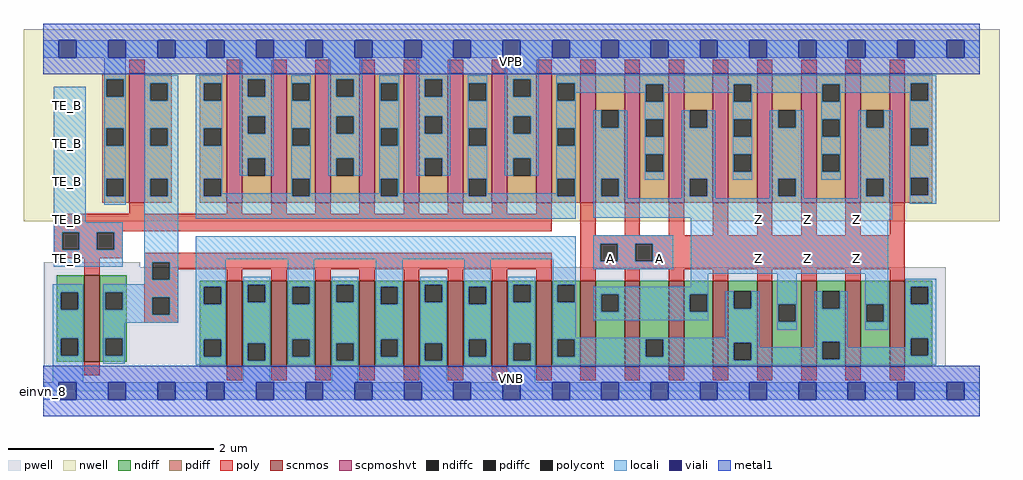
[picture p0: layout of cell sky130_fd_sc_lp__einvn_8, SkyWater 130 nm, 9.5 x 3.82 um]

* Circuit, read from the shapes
.subckt sky130_fd_sc_lp__einvn_8 A TE_B VGND VNB VPB VPWR Z
XM1 n1 TE_B VGND VNB sky130_fd_pr__nfet_01v8 w=0.84 l=0.15
XM2 VGND n1 n2 VNB sky130_fd_pr__nfet_01v8 w=0.84 l=0.15 m=8
XM3 Z A n2 VNB sky130_fd_pr__nfet_01v8 w=0.84 l=0.15 m=8
XM4 n1 TE_B VPWR VPB sky130_fd_pr__pfet_01v8_hvt w=1.26 l=0.15
XM5 VPWR TE_B n3 VPB sky130_fd_pr__pfet_01v8_hvt w=1.26 l=0.15 m=8
XM6 Z A n3 VPB sky130_fd_pr__pfet_01v8_hvt w=1.26 l=0.15 m=8
.ends

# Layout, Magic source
magic
tech sky130A
magscale 1 2
<< nwell >>
rect -38 331 1862 704
<< pwell >>
rect 1 241 189 251
rect 1 49 1757 241
rect 0 0 1824 49
<< scnmos >>
rect 80 57 110 225
rect 358 47 388 215
rect 444 47 474 215
rect 530 47 560 215
rect 616 47 646 215
rect 702 47 732 215
rect 788 47 818 215
rect 874 47 904 215
rect 960 47 990 215
rect 1046 47 1076 215
rect 1132 47 1162 215
rect 1218 47 1248 215
rect 1304 47 1334 215
rect 1390 47 1420 215
rect 1476 47 1506 215
rect 1562 47 1592 215
rect 1648 47 1678 215
<< scpmoshvt >>
rect 168 367 198 619
rect 358 367 388 619
rect 444 367 474 619
rect 530 367 560 619
rect 616 367 646 619
rect 702 367 732 619
rect 788 367 818 619
rect 874 367 904 619
rect 960 367 990 619
rect 1046 367 1076 619
rect 1132 367 1162 619
rect 1218 367 1248 619
rect 1304 367 1334 619
rect 1390 367 1420 619
rect 1476 367 1506 619
rect 1562 367 1592 619
rect 1648 367 1678 619
<< ndiff >>
rect 27 192 80 225
rect 27 158 35 192
rect 69 158 80 192
rect 27 103 80 158
rect 27 69 35 103
rect 69 69 80 103
rect 27 57 80 69
rect 110 192 163 225
rect 110 158 121 192
rect 155 158 163 192
rect 110 103 163 158
rect 305 203 358 215
rect 305 169 313 203
rect 347 169 358 203
rect 110 69 121 103
rect 155 69 163 103
rect 110 57 163 69
rect 305 101 358 169
rect 305 67 313 101
rect 347 67 358 101
rect 305 47 358 67
rect 388 207 444 215
rect 388 173 399 207
rect 433 173 444 207
rect 388 93 444 173
rect 388 59 399 93
rect 433 59 444 93
rect 388 47 444 59
rect 474 203 530 215
rect 474 169 485 203
rect 519 169 530 203
rect 474 101 530 169
rect 474 67 485 101
rect 519 67 530 101
rect 474 47 530 67
rect 560 207 616 215
rect 560 173 571 207
rect 605 173 616 207
rect 560 93 616 173
rect 560 59 571 93
rect 605 59 616 93
rect 560 47 616 59
rect 646 203 702 215
rect 646 169 657 203
rect 691 169 702 203
rect 646 101 702 169
rect 646 67 657 101
rect 691 67 702 101
rect 646 47 702 67
rect 732 207 788 215
rect 732 173 743 207
rect 777 173 788 207
rect 732 93 788 173
rect 732 59 743 93
rect 777 59 788 93
rect 732 47 788 59
rect 818 203 874 215
rect 818 169 829 203
rect 863 169 874 203
rect 818 101 874 169
rect 818 67 829 101
rect 863 67 874 101
rect 818 47 874 67
rect 904 207 960 215
rect 904 173 915 207
rect 949 173 960 207
rect 904 93 960 173
rect 904 59 915 93
rect 949 59 960 93
rect 904 47 960 59
rect 990 207 1046 215
rect 990 173 1001 207
rect 1035 173 1046 207
rect 990 101 1046 173
rect 990 67 1001 101
rect 1035 67 1046 101
rect 990 47 1046 67
rect 1076 188 1132 215
rect 1076 154 1087 188
rect 1121 154 1132 188
rect 1076 47 1132 154
rect 1162 101 1218 215
rect 1162 67 1173 101
rect 1207 67 1218 101
rect 1162 47 1218 67
rect 1248 188 1304 215
rect 1248 154 1259 188
rect 1293 154 1304 188
rect 1248 47 1304 154
rect 1334 194 1390 215
rect 1334 160 1345 194
rect 1379 160 1390 194
rect 1334 94 1390 160
rect 1334 60 1345 94
rect 1379 60 1390 94
rect 1334 47 1390 60
rect 1420 169 1476 215
rect 1420 135 1431 169
rect 1465 135 1476 169
rect 1420 47 1476 135
rect 1506 194 1562 215
rect 1506 160 1517 194
rect 1551 160 1562 194
rect 1506 96 1562 160
rect 1506 62 1517 96
rect 1551 62 1562 96
rect 1506 47 1562 62
rect 1592 169 1648 215
rect 1592 135 1603 169
rect 1637 135 1648 169
rect 1592 47 1648 135
rect 1678 203 1731 215
rect 1678 169 1689 203
rect 1723 169 1731 203
rect 1678 103 1731 169
rect 1678 69 1689 103
rect 1723 69 1731 103
rect 1678 47 1731 69
<< pdiff >>
rect 115 607 168 619
rect 115 573 123 607
rect 157 573 168 607
rect 115 512 168 573
rect 115 478 123 512
rect 157 478 168 512
rect 115 413 168 478
rect 115 379 123 413
rect 157 379 168 413
rect 115 367 168 379
rect 198 599 251 619
rect 198 565 209 599
rect 243 565 251 599
rect 198 512 251 565
rect 198 478 209 512
rect 243 478 251 512
rect 198 413 251 478
rect 198 379 209 413
rect 243 379 251 413
rect 198 367 251 379
rect 305 599 358 619
rect 305 565 313 599
rect 347 565 358 599
rect 305 512 358 565
rect 305 478 313 512
rect 347 478 358 512
rect 305 413 358 478
rect 305 379 313 413
rect 347 379 358 413
rect 305 367 358 379
rect 388 607 444 619
rect 388 573 399 607
rect 433 573 444 607
rect 388 535 444 573
rect 388 501 399 535
rect 433 501 444 535
rect 388 453 444 501
rect 388 419 399 453
rect 433 419 444 453
rect 388 367 444 419
rect 474 599 530 619
rect 474 565 485 599
rect 519 565 530 599
rect 474 512 530 565
rect 474 478 485 512
rect 519 478 530 512
rect 474 413 530 478
rect 474 379 485 413
rect 519 379 530 413
rect 474 367 530 379
rect 560 607 616 619
rect 560 573 571 607
rect 605 573 616 607
rect 560 535 616 573
rect 560 501 571 535
rect 605 501 616 535
rect 560 453 616 501
rect 560 419 571 453
rect 605 419 616 453
rect 560 367 616 419
rect 646 599 702 619
rect 646 565 657 599
rect 691 565 702 599
rect 646 512 702 565
rect 646 478 657 512
rect 691 478 702 512
rect 646 413 702 478
rect 646 379 657 413
rect 691 379 702 413
rect 646 367 702 379
rect 732 607 788 619
rect 732 573 743 607
rect 777 573 788 607
rect 732 535 788 573
rect 732 501 743 535
rect 777 501 788 535
rect 732 453 788 501
rect 732 419 743 453
rect 777 419 788 453
rect 732 367 788 419
rect 818 599 874 619
rect 818 565 829 599
rect 863 565 874 599
rect 818 512 874 565
rect 818 478 829 512
rect 863 478 874 512
rect 818 413 874 478
rect 818 379 829 413
rect 863 379 874 413
rect 818 367 874 379
rect 904 607 960 619
rect 904 573 915 607
rect 949 573 960 607
rect 904 535 960 573
rect 904 501 915 535
rect 949 501 960 535
rect 904 453 960 501
rect 904 419 915 453
rect 949 419 960 453
rect 904 367 960 419
rect 990 599 1046 619
rect 990 565 1001 599
rect 1035 565 1046 599
rect 990 512 1046 565
rect 990 478 1001 512
rect 1035 478 1046 512
rect 990 413 1046 478
rect 990 379 1001 413
rect 1035 379 1046 413
rect 990 367 1046 379
rect 1076 547 1132 619
rect 1076 513 1087 547
rect 1121 513 1132 547
rect 1076 413 1132 513
rect 1076 379 1087 413
rect 1121 379 1132 413
rect 1076 367 1132 379
rect 1162 597 1218 619
rect 1162 563 1173 597
rect 1207 563 1218 597
rect 1162 529 1218 563
rect 1162 495 1173 529
rect 1207 495 1218 529
rect 1162 461 1218 495
rect 1162 427 1173 461
rect 1207 427 1218 461
rect 1162 367 1218 427
rect 1248 547 1304 619
rect 1248 513 1259 547
rect 1293 513 1304 547
rect 1248 413 1304 513
rect 1248 379 1259 413
rect 1293 379 1304 413
rect 1248 367 1304 379
rect 1334 597 1390 619
rect 1334 563 1345 597
rect 1379 563 1390 597
rect 1334 529 1390 563
rect 1334 495 1345 529
rect 1379 495 1390 529
rect 1334 461 1390 495
rect 1334 427 1345 461
rect 1379 427 1390 461
rect 1334 367 1390 427
rect 1420 547 1476 619
rect 1420 513 1431 547
rect 1465 513 1476 547
rect 1420 413 1476 513
rect 1420 379 1431 413
rect 1465 379 1476 413
rect 1420 367 1476 379
rect 1506 597 1562 619
rect 1506 563 1517 597
rect 1551 563 1562 597
rect 1506 529 1562 563
rect 1506 495 1517 529
rect 1551 495 1562 529
rect 1506 461 1562 495
rect 1506 427 1517 461
rect 1551 427 1562 461
rect 1506 367 1562 427
rect 1592 547 1648 619
rect 1592 513 1603 547
rect 1637 513 1648 547
rect 1592 413 1648 513
rect 1592 379 1603 413
rect 1637 379 1648 413
rect 1592 367 1648 379
rect 1678 599 1731 619
rect 1678 565 1689 599
rect 1723 565 1731 599
rect 1678 512 1731 565
rect 1678 478 1689 512
rect 1723 478 1731 512
rect 1678 415 1731 478
rect 1678 381 1689 415
rect 1723 381 1731 415
rect 1678 367 1731 381
<< ndiffc >>
rect 35 158 69 192
rect 35 69 69 103
rect 121 158 155 192
rect 313 169 347 203
rect 121 69 155 103
rect 313 67 347 101
rect 399 173 433 207
rect 399 59 433 93
rect 485 169 519 203
rect 485 67 519 101
rect 571 173 605 207
rect 571 59 605 93
rect 657 169 691 203
rect 657 67 691 101
rect 743 173 777 207
rect 743 59 777 93
rect 829 169 863 203
rect 829 67 863 101
rect 915 173 949 207
rect 915 59 949 93
rect 1001 173 1035 207
rect 1001 67 1035 101
rect 1087 154 1121 188
rect 1173 67 1207 101
rect 1259 154 1293 188
rect 1345 160 1379 194
rect 1345 60 1379 94
rect 1431 135 1465 169
rect 1517 160 1551 194
rect 1517 62 1551 96
rect 1603 135 1637 169
rect 1689 169 1723 203
rect 1689 69 1723 103
<< pdiffc >>
rect 123 573 157 607
rect 123 478 157 512
rect 123 379 157 413
rect 209 565 243 599
rect 209 478 243 512
rect 209 379 243 413
rect 313 565 347 599
rect 313 478 347 512
rect 313 379 347 413
rect 399 573 433 607
rect 399 501 433 535
rect 399 419 433 453
rect 485 565 519 599
rect 485 478 519 512
rect 485 379 519 413
rect 571 573 605 607
rect 571 501 605 535
rect 571 419 605 453
rect 657 565 691 599
rect 657 478 691 512
rect 657 379 691 413
rect 743 573 777 607
rect 743 501 777 535
rect 743 419 777 453
rect 829 565 863 599
rect 829 478 863 512
rect 829 379 863 413
rect 915 573 949 607
rect 915 501 949 535
rect 915 419 949 453
rect 1001 565 1035 599
rect 1001 478 1035 512
rect 1001 379 1035 413
rect 1087 513 1121 547
rect 1087 379 1121 413
rect 1173 563 1207 597
rect 1173 495 1207 529
rect 1173 427 1207 461
rect 1259 513 1293 547
rect 1259 379 1293 413
rect 1345 563 1379 597
rect 1345 495 1379 529
rect 1345 427 1379 461
rect 1431 513 1465 547
rect 1431 379 1465 413
rect 1517 563 1551 597
rect 1517 495 1551 529
rect 1517 427 1551 461
rect 1603 513 1637 547
rect 1603 379 1637 413
rect 1689 565 1723 599
rect 1689 478 1723 512
rect 1689 381 1723 415
<< poly >>
rect 168 619 198 645
rect 358 619 388 645
rect 444 619 474 645
rect 530 619 560 645
rect 616 619 646 645
rect 702 619 732 645
rect 788 619 818 645
rect 874 619 904 645
rect 960 619 990 645
rect 1046 619 1076 645
rect 1132 619 1162 645
rect 1218 619 1248 645
rect 1304 619 1334 645
rect 1390 619 1420 645
rect 1476 619 1506 645
rect 1562 619 1592 645
rect 1648 619 1678 645
rect 168 345 198 367
rect 358 345 388 367
rect 444 345 474 367
rect 530 345 560 367
rect 616 345 646 367
rect 702 345 732 367
rect 788 345 818 367
rect 874 345 904 367
rect 960 345 990 367
rect 21 311 990 345
rect 21 309 155 311
rect 21 275 37 309
rect 71 275 105 309
rect 139 275 155 309
rect 21 259 155 275
rect 1046 303 1076 367
rect 1132 303 1162 367
rect 1218 303 1248 367
rect 1304 303 1334 367
rect 1390 303 1420 367
rect 1476 303 1506 367
rect 1562 303 1592 367
rect 1648 303 1678 367
rect 1046 287 1678 303
rect 80 225 110 259
rect 197 251 990 269
rect 197 217 213 251
rect 247 237 990 251
rect 247 217 263 237
rect 197 183 263 217
rect 358 215 388 237
rect 444 215 474 237
rect 530 215 560 237
rect 616 215 646 237
rect 702 215 732 237
rect 788 215 818 237
rect 874 215 904 237
rect 960 215 990 237
rect 1046 253 1085 287
rect 1119 253 1153 287
rect 1187 253 1678 287
rect 1046 237 1678 253
rect 1046 215 1076 237
rect 1132 215 1162 237
rect 1218 215 1248 237
rect 1304 215 1334 237
rect 1390 215 1420 237
rect 1476 215 1506 237
rect 1562 215 1592 237
rect 1648 215 1678 237
rect 197 149 213 183
rect 247 149 263 183
rect 197 133 263 149
rect 80 31 110 57
rect 358 21 388 47
rect 444 21 474 47
rect 530 21 560 47
rect 616 21 646 47
rect 702 21 732 47
rect 788 21 818 47
rect 874 21 904 47
rect 960 21 990 47
rect 1046 21 1076 47
rect 1132 21 1162 47
rect 1218 21 1248 47
rect 1304 21 1334 47
rect 1390 21 1420 47
rect 1476 21 1506 47
rect 1562 21 1592 47
rect 1648 21 1678 47
<< polycont >>
rect 37 275 71 309
rect 105 275 139 309
rect 213 217 247 251
rect 1085 253 1119 287
rect 1153 253 1187 287
rect 213 149 247 183
<< locali >>
rect 0 649 31 683
rect 65 649 127 683
rect 161 649 223 683
rect 257 649 319 683
rect 353 649 415 683
rect 449 649 511 683
rect 545 649 607 683
rect 641 649 703 683
rect 737 649 799 683
rect 833 649 895 683
rect 929 649 991 683
rect 1025 649 1087 683
rect 1121 649 1183 683
rect 1217 649 1279 683
rect 1313 649 1375 683
rect 1409 649 1471 683
rect 1505 649 1567 683
rect 1601 649 1663 683
rect 1697 649 1759 683
rect 1793 649 1824 683
rect 119 607 161 649
rect 21 329 83 592
rect 119 573 123 607
rect 157 573 161 607
rect 119 512 161 573
rect 119 478 123 512
rect 157 478 161 512
rect 119 413 161 478
rect 119 379 123 413
rect 157 379 161 413
rect 119 363 161 379
rect 197 599 263 615
rect 197 565 209 599
rect 243 565 263 599
rect 197 512 263 565
rect 197 478 209 512
rect 243 478 263 512
rect 197 413 263 478
rect 197 379 209 413
rect 243 379 263 413
rect 21 309 155 329
rect 21 275 37 309
rect 71 275 105 309
rect 139 275 155 309
rect 21 242 155 275
rect 197 251 263 379
rect 297 599 349 615
rect 297 565 313 599
rect 347 565 349 599
rect 297 512 349 565
rect 297 478 313 512
rect 347 478 349 512
rect 297 413 349 478
rect 383 607 449 649
rect 383 573 399 607
rect 433 573 449 607
rect 383 535 449 573
rect 383 501 399 535
rect 433 501 449 535
rect 383 453 449 501
rect 383 419 399 453
rect 433 419 449 453
rect 483 599 521 615
rect 483 565 485 599
rect 519 565 521 599
rect 483 512 521 565
rect 483 478 485 512
rect 519 478 521 512
rect 297 379 313 413
rect 347 385 349 413
rect 483 413 521 478
rect 555 607 621 649
rect 555 573 571 607
rect 605 573 621 607
rect 555 535 621 573
rect 555 501 571 535
rect 605 501 621 535
rect 555 453 621 501
rect 555 419 571 453
rect 605 419 621 453
rect 655 599 693 615
rect 655 565 657 599
rect 691 565 693 599
rect 655 512 693 565
rect 655 478 657 512
rect 691 478 693 512
rect 483 385 485 413
rect 347 379 485 385
rect 519 385 521 413
rect 655 413 693 478
rect 727 607 793 649
rect 727 573 743 607
rect 777 573 793 607
rect 727 535 793 573
rect 727 501 743 535
rect 777 501 793 535
rect 727 453 793 501
rect 727 419 743 453
rect 777 419 793 453
rect 827 599 865 615
rect 827 565 829 599
rect 863 565 865 599
rect 827 512 865 565
rect 827 478 829 512
rect 863 478 865 512
rect 655 385 657 413
rect 519 379 657 385
rect 691 385 693 413
rect 827 413 865 478
rect 899 607 965 649
rect 899 573 915 607
rect 949 573 965 607
rect 899 535 965 573
rect 899 501 915 535
rect 949 501 965 535
rect 899 453 965 501
rect 899 419 915 453
rect 949 419 965 453
rect 999 599 1739 615
rect 999 565 1001 599
rect 1035 597 1689 599
rect 1035 581 1173 597
rect 1035 565 1037 581
rect 999 512 1037 565
rect 1171 563 1173 581
rect 1207 581 1345 597
rect 1207 563 1209 581
rect 999 478 1001 512
rect 1035 478 1037 512
rect 827 385 829 413
rect 691 379 829 385
rect 863 385 865 413
rect 999 413 1037 478
rect 999 385 1001 413
rect 863 379 1001 385
rect 1035 379 1037 413
rect 297 335 1037 379
rect 1071 513 1087 547
rect 1121 513 1137 547
rect 1071 413 1137 513
rect 1071 379 1087 413
rect 1121 379 1137 413
rect 1171 529 1209 563
rect 1343 563 1345 581
rect 1379 581 1517 597
rect 1379 563 1381 581
rect 1171 495 1173 529
rect 1207 495 1209 529
rect 1171 461 1209 495
rect 1171 427 1173 461
rect 1207 427 1209 461
rect 1171 411 1209 427
rect 1243 513 1259 547
rect 1293 513 1309 547
rect 1243 413 1309 513
rect 1071 375 1137 379
rect 1243 379 1259 413
rect 1293 379 1309 413
rect 1343 529 1381 563
rect 1515 563 1517 581
rect 1551 581 1689 597
rect 1551 563 1553 581
rect 1343 495 1345 529
rect 1379 495 1381 529
rect 1343 461 1381 495
rect 1343 427 1345 461
rect 1379 427 1381 461
rect 1343 411 1381 427
rect 1415 513 1431 547
rect 1465 513 1481 547
rect 1415 413 1481 513
rect 1243 375 1309 379
rect 1415 379 1431 413
rect 1465 379 1481 413
rect 1515 529 1553 563
rect 1687 565 1689 581
rect 1723 565 1739 599
rect 1515 495 1517 529
rect 1551 495 1553 529
rect 1515 461 1553 495
rect 1515 427 1517 461
rect 1551 427 1553 461
rect 1515 411 1553 427
rect 1587 513 1603 547
rect 1637 513 1653 547
rect 1587 413 1653 513
rect 1415 375 1481 379
rect 1587 379 1603 413
rect 1637 379 1653 413
rect 1587 375 1653 379
rect 1071 337 1653 375
rect 1687 512 1739 565
rect 1687 478 1689 512
rect 1723 478 1739 512
rect 1687 415 1739 478
rect 1687 381 1689 415
rect 1723 381 1739 415
rect 1687 365 1739 381
rect 1261 333 1653 337
rect 197 217 213 251
rect 247 217 263 251
rect 197 208 263 217
rect 19 192 78 208
rect 19 158 35 192
rect 69 158 78 192
rect 19 103 78 158
rect 19 69 35 103
rect 69 69 78 103
rect 19 17 78 69
rect 117 192 263 208
rect 117 158 121 192
rect 155 183 263 192
rect 155 158 213 183
rect 117 149 213 158
rect 247 149 263 183
rect 117 133 263 149
rect 297 257 1037 301
rect 297 203 356 257
rect 297 169 313 203
rect 347 169 356 203
rect 117 103 159 133
rect 117 69 121 103
rect 155 69 159 103
rect 117 53 159 69
rect 297 101 356 169
rect 297 67 313 101
rect 347 67 356 101
rect 297 51 356 67
rect 390 207 442 223
rect 390 173 399 207
rect 433 173 442 207
rect 390 93 442 173
rect 390 59 399 93
rect 433 59 442 93
rect 390 17 442 59
rect 476 203 528 257
rect 476 169 485 203
rect 519 169 528 203
rect 476 101 528 169
rect 476 67 485 101
rect 519 67 528 101
rect 476 51 528 67
rect 562 207 614 223
rect 562 173 571 207
rect 605 173 614 207
rect 562 93 614 173
rect 562 59 571 93
rect 605 59 614 93
rect 562 17 614 59
rect 648 203 700 257
rect 648 169 657 203
rect 691 169 700 203
rect 648 101 700 169
rect 648 67 657 101
rect 691 67 700 101
rect 648 51 700 67
rect 734 207 786 223
rect 734 173 743 207
rect 777 173 786 207
rect 734 93 786 173
rect 734 59 743 93
rect 777 59 786 93
rect 734 17 786 59
rect 820 203 872 257
rect 820 169 829 203
rect 863 169 872 203
rect 820 101 872 169
rect 820 67 829 101
rect 863 67 872 101
rect 820 51 872 67
rect 906 207 958 223
rect 906 173 915 207
rect 949 173 958 207
rect 906 93 958 173
rect 906 59 915 93
rect 949 59 958 93
rect 906 17 958 59
rect 992 207 1037 257
rect 1071 287 1227 303
rect 1071 253 1085 287
rect 1119 253 1153 287
rect 1187 253 1227 287
rect 1071 237 1227 253
rect 992 173 1001 207
rect 1035 173 1037 207
rect 1261 228 1645 333
rect 1261 203 1295 228
rect 992 104 1037 173
rect 1071 188 1295 203
rect 1071 154 1087 188
rect 1121 154 1259 188
rect 1293 154 1295 188
rect 1071 138 1295 154
rect 1329 160 1345 194
rect 1379 160 1395 194
rect 1329 104 1395 160
rect 1429 169 1467 228
rect 1429 135 1431 169
rect 1465 135 1467 169
rect 1429 119 1467 135
rect 1501 160 1517 194
rect 1551 160 1567 194
rect 992 101 1395 104
rect 992 67 1001 101
rect 1035 67 1173 101
rect 1207 94 1395 101
rect 1207 67 1345 94
rect 992 60 1345 67
rect 1379 85 1395 94
rect 1501 96 1567 160
rect 1601 169 1645 228
rect 1601 135 1603 169
rect 1637 135 1645 169
rect 1601 119 1645 135
rect 1679 203 1739 219
rect 1679 169 1689 203
rect 1723 169 1739 203
rect 1501 85 1517 96
rect 1379 62 1517 85
rect 1551 85 1567 96
rect 1679 103 1739 169
rect 1679 85 1689 103
rect 1551 69 1689 85
rect 1723 69 1739 103
rect 1551 62 1739 69
rect 1379 60 1739 62
rect 992 51 1739 60
rect 0 -17 31 17
rect 65 -17 127 17
rect 161 -17 223 17
rect 257 -17 319 17
rect 353 -17 415 17
rect 449 -17 511 17
rect 545 -17 607 17
rect 641 -17 703 17
rect 737 -17 799 17
rect 833 -17 895 17
rect 929 -17 991 17
rect 1025 -17 1087 17
rect 1121 -17 1183 17
rect 1217 -17 1279 17
rect 1313 -17 1375 17
rect 1409 -17 1471 17
rect 1505 -17 1567 17
rect 1601 -17 1663 17
rect 1697 -17 1759 17
rect 1793 -17 1824 17
<< viali >>
rect 31 649 65 683
rect 127 649 161 683
rect 223 649 257 683
rect 319 649 353 683
rect 415 649 449 683
rect 511 649 545 683
rect 607 649 641 683
rect 703 649 737 683
rect 799 649 833 683
rect 895 649 929 683
rect 991 649 1025 683
rect 1087 649 1121 683
rect 1183 649 1217 683
rect 1279 649 1313 683
rect 1375 649 1409 683
rect 1471 649 1505 683
rect 1567 649 1601 683
rect 1663 649 1697 683
rect 1759 649 1793 683
rect 31 -17 65 17
rect 127 -17 161 17
rect 223 -17 257 17
rect 319 -17 353 17
rect 415 -17 449 17
rect 511 -17 545 17
rect 607 -17 641 17
rect 703 -17 737 17
rect 799 -17 833 17
rect 895 -17 929 17
rect 991 -17 1025 17
rect 1087 -17 1121 17
rect 1183 -17 1217 17
rect 1279 -17 1313 17
rect 1375 -17 1409 17
rect 1471 -17 1505 17
rect 1567 -17 1601 17
rect 1663 -17 1697 17
rect 1759 -17 1793 17
<< metal1 >>
rect 0 683 1824 715
rect 0 649 31 683
rect 65 649 127 683
rect 161 649 223 683
rect 257 649 319 683
rect 353 649 415 683
rect 449 649 511 683
rect 545 649 607 683
rect 641 649 703 683
rect 737 649 799 683
rect 833 649 895 683
rect 929 649 991 683
rect 1025 649 1087 683
rect 1121 649 1183 683
rect 1217 649 1279 683
rect 1313 649 1375 683
rect 1409 649 1471 683
rect 1505 649 1567 683
rect 1601 649 1663 683
rect 1697 649 1759 683
rect 1793 649 1824 683
rect 0 617 1824 649
rect 0 17 1824 49
rect 0 -17 31 17
rect 65 -17 127 17
rect 161 -17 223 17
rect 257 -17 319 17
rect 353 -17 415 17
rect 449 -17 511 17
rect 545 -17 607 17
rect 641 -17 703 17
rect 737 -17 799 17
rect 833 -17 895 17
rect 929 -17 991 17
rect 1025 -17 1087 17
rect 1121 -17 1183 17
rect 1217 -17 1279 17
rect 1313 -17 1375 17
rect 1409 -17 1471 17
rect 1505 -17 1567 17
rect 1601 -17 1663 17
rect 1697 -17 1759 17
rect 1793 -17 1824 17
rect 0 -49 1824 -17
<< labels >>
flabel pwell s 0 0 1824 49 0 FreeSans 200 0 0 0 VNB
port 4 nsew ground bidirectional
flabel nwell s 0 617 1824 666 0 FreeSans 200 0 0 0 VPB
port 5 nsew power bidirectional
rlabel comment s 0 0 0 0 4 einvn_8
flabel metal1 s 0 617 1824 666 0 FreeSans 340 0 0 0 VPWR
port 6 nsew power bidirectional
flabel metal1 s 0 0 1824 49 0 FreeSans 340 0 0 0 VGND
port 3 nsew ground bidirectional
flabel locali s 31 242 65 276 0 FreeSans 340 0 0 0 TE_B
port 2 nsew signal input
flabel locali s 31 316 65 350 0 FreeSans 340 0 0 0 TE_B
port 2 nsew signal input
flabel locali s 31 390 65 424 0 FreeSans 340 0 0 0 TE_B
port 2 nsew signal input
flabel locali s 31 464 65 498 0 FreeSans 340 0 0 0 TE_B
port 2 nsew signal input
flabel locali s 31 538 65 572 0 FreeSans 340 0 0 0 TE_B
port 2 nsew signal input
flabel locali s 1183 242 1217 276 0 FreeSans 340 0 0 0 A
port 1 nsew signal input
flabel locali s 1471 242 1505 276 0 FreeSans 340 0 0 0 Z
port 7 nsew signal output
flabel locali s 1471 316 1505 350 0 FreeSans 340 0 0 0 Z
port 7 nsew signal output
flabel locali s 1375 316 1409 350 0 FreeSans 340 0 0 0 Z
port 7 nsew signal output
flabel locali s 1567 242 1601 276 0 FreeSans 340 0 0 0 Z
port 7 nsew signal output
flabel locali s 1567 316 1601 350 0 FreeSans 340 0 0 0 Z
port 7 nsew signal output
flabel locali s 1375 242 1409 276 0 FreeSans 340 0 0 0 Z
port 7 nsew signal output
flabel locali s 1087 242 1121 276 0 FreeSans 340 0 0 0 A
port 1 nsew signal input
<< properties >>
string LEFsite unit
string LEFclass CORE
string FIXED_BBOX 0 0 1824 666
string GDS_FILE $PDKPATH/libs.ref/sky130_fd_sc_lp/gds/sky130_fd_sc_lp.gds
string LEFsymmetry X Y R90
string GDS_END 3991602
string GDS_START 3977332
<< end >>
